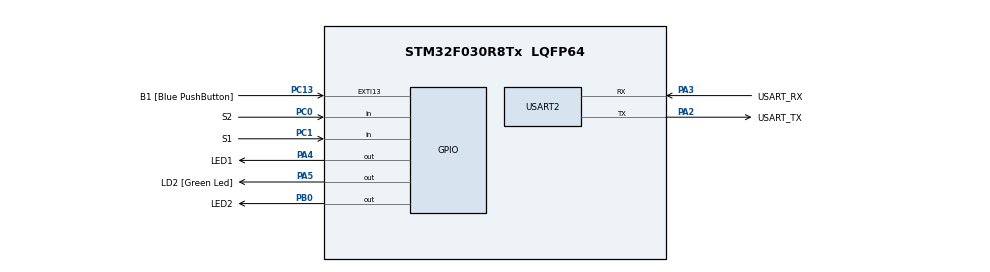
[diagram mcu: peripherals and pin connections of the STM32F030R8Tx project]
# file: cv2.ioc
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Mcu.Family=STM32F0
Mcu.Name=STM32F030R8Tx
Mcu.Package=LQFP64
PA13.GPIO_Label=TMS
PA13.Mode=Serial_Wire
PA13.Signal=SYS_SWDIO
PA14.GPIO_Label=TCK
PA14.Mode=Serial_Wire
PA14.Signal=SYS_SWCLK
PA2.GPIO_Label=USART_TX
PA2.GPIO_Mode=GPIO_MODE_AF_PP
PA2.GPIO_PuPd=GPIO_NOPULL
PA2.GPIO_Speed=GPIO_SPEED_FREQ_LOW
PA2.Mode=Asynchronous
PA2.Signal=USART2_TX
PA3.GPIO_Label=USART_RX
PA3.GPIO_Mode=GPIO_MODE_AF_PP
PA3.GPIO_PuPd=GPIO_NOPULL
PA3.GPIO_Speed=GPIO_SPEED_FREQ_LOW
PA3.Mode=Asynchronous
PA3.Signal=USART2_RX
PA4.GPIO_Label=LED1
PA4.Signal=GPIO_Output
PA5.GPIO_Label=LD2 [Green Led]
PA5.GPIO_Mode=GPIO_MODE_OUTPUT_PP
PA5.GPIO_PuPd=GPIO_NOPULL
PA5.GPIO_Speed=GPIO_SPEED_FREQ_LOW
PA5.Signal=GPIO_Output
PB0.GPIO_Label=LED2
PB0.Signal=GPIO_Output
PC0.GPIO_Label=S2
PC0.GPIO_PuPd=GPIO_PULLUP
PC0.Signal=GPIO_Input
PC1.GPIO_Label=S1
PC1.GPIO_PuPd=GPIO_PULLUP
PC1.Signal=GPIO_Input
PC13.GPIO_Label=B1 [Blue PushButton]
PC13.GPIO_ModeDefaultEXTI=GPIO_MODE_IT_FALLING
PC13.Signal=GPXTI13
PC14-OSC32_IN.Mode=LSE-External-Oscillator
PC14-OSC32_IN.Signal=RCC_OSC32_IN
PC15-OSC32_OUT.Mode=LSE-External-Oscillator
PC15-OSC32_OUT.Signal=RCC_OSC32_OUT
PF0-OSC_IN.Mode=HSE-External-Clock-Source
PF0-OSC_IN.Signal=RCC_OSC_IN
PF1-OSC_OUT.Signal=RCC_OSC_OUT
ProjectManager.HeapSize=0x200
ProjectManager.StackSize=0x400
ProjectManager.TargetToolchain=STM32CubeIDE
RCC.AHBFreq_Value=48000000
RCC.APB1Freq_Value=48000000
RCC.APB1TimFreq_Value=48000000
RCC.HCLKFreq_Value=48000000
RCC.PLLMUL=RCC_PLL_MUL12
RCC.SYSCLKFreq_VALUE=48000000
RCC.SYSCLKSource=RCC_SYSCLKSOURCE_PLLCLK
USART2.VirtualMode-Asynchronous=VM_ASYNC
board=NUCLEO-F030R8

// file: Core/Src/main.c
/* USER CODE BEGIN Header */
/**
  ******************************************************************************
  * @file           : main.c
  * @brief          : Main program body
  ******************************************************************************
  * @attention
  *
  * Copyright (c) 2023 STMicroelectronics.
  * All rights reserved.
  *
  * This software is licensed under terms that can be found in the LICENSE file
  * in the root directory of this software component.
  * If no LICENSE file comes with this software, it is provided AS-IS.
  *
  ******************************************************************************
  */
/* USER CODE END Header */
#include "main.h"

/* USER CODE BEGIN PD */
#define LED_TIME_BLINK 300
#define LED_TIME_SHORT 100
#define LED_TIME_LONG 1000
#define BUTTON_CHECK 40
#define DEL 5
/* USER CODE END PD */

void SystemClock_Config(void);
static void MX_GPIO_Init(void);
static void MX_USART2_UART_Init(void);

/* USER CODE BEGIN 0 */
volatile uint32_t Tick;
void blikac(void) {
	static uint32_t delay;
	if (Tick > delay + LED_TIME_BLINK) {
		LL_GPIO_TogglePin(LED1_GPIO_Port, LED1_Pin);
		delay = Tick;
	}
}
void tlacitko(void) {
//	static uint32_t delay;
	static uint32_t delay5;
	static uint32_t debounce = 0xFFFF;
//	static uint32_t old_s2;
//	static uint32_t old_s1;
	static uint32_t off_time;

	if (Tick > delay5 + DEL) {
		debounce <<= 1;
		if (LL_GPIO_IsInputPinSet(S1_GPIO_Port, S1_Pin)) {
			debounce |= 1;
		}
		if (debounce == 0x7FFF) {
			LL_GPIO_SetOutputPin(LED2_GPIO_Port, LED2_Pin);
			off_time = Tick + LED_TIME_LONG;
		}
		delay5 = Tick;
	}

//	if (Tick > delay + BUTTON_CHECK) {
//		uint32_t new_s2 = LL_GPIO_IsInputPinSet(S2_GPIO_Port, S2_Pin);
//		uint32_t new_s1 = LL_GPIO_IsInputPinSet(S1_GPIO_Port, S1_Pin);
//		if (old_s2 && !new_s2) { // falling edge
//			off_time = Tick + LED_TIME_SHORT;
//			LL_GPIO_SetOutputPin(LED2_GPIO_Port, LED2_Pin);
//		}
//		if (old_s1 && !new_s1) {
//			off_time = Tick + LED_TIME_LONG;
//			LL_GPIO_SetOutputPin(LED2_GPIO_Port, LED2_Pin);
//		}
//		old_s2 = new_s2;
//		old_s1 = new_s1;
//		delay = Tick;
//	}
	if (Tick > off_time) {
		LL_GPIO_ResetOutputPin(LED2_GPIO_Port, LED2_Pin);
	}
}
/* USER CODE END 0 */

int main(void)
{

  /* MCU Configuration--------------------------------------------------------*/

  /* Reset of all peripherals, Initializes the Flash interface and the Systick. */
  LL_APB1_GRP2_EnableClock(LL_APB1_GRP2_PERIPH_SYSCFG);
  LL_APB1_GRP1_EnableClock(LL_APB1_GRP1_PERIPH_PWR);

  /* Configure the system clock */
  SystemClock_Config();

  /* Initialize all configured peripherals */
  MX_GPIO_Init();
  MX_USART2_UART_Init();
  /* USER CODE BEGIN 2 */
  LL_SYSTICK_EnableIT();
  /* USER CODE END 2 */

  /* Infinite loop */
  while (1)
  {
	  	 blikac();
	  	 tlacitko();
  }
}

void SystemClock_Config(void)
{
  LL_FLASH_SetLatency(LL_FLASH_LATENCY_1);
  while(LL_FLASH_GetLatency() != LL_FLASH_LATENCY_1)
  {
  }
  LL_RCC_HSI_Enable();

   /* Wait till HSI is ready */
  while(LL_RCC_HSI_IsReady() != 1)
  {

  }
  LL_RCC_HSI_SetCalibTrimming(16);
  LL_RCC_PLL_ConfigDomain_SYS(LL_RCC_PLLSOURCE_HSI_DIV_2, LL_RCC_PLL_MUL_12);
  LL_RCC_PLL_Enable();

   /* Wait till PLL is ready */
  while(LL_RCC_PLL_IsReady() != 1)
  {

  }
  LL_RCC_SetAHBPrescaler(LL_RCC_SYSCLK_DIV_1);
  LL_RCC_SetAPB1Prescaler(LL_RCC_APB1_DIV_1);
  LL_RCC_SetSysClkSource(LL_RCC_SYS_CLKSOURCE_PLL);

   /* Wait till System clock is ready */
  while(LL_RCC_GetSysClkSource() != LL_RCC_SYS_CLKSOURCE_STATUS_PLL)
  {

  }
  LL_Init1msTick(48000000);
  LL_SetSystemCoreClock(48000000);
}

static void MX_USART2_UART_Init(void)
{

  LL_USART_InitTypeDef USART_InitStruct = {0};

  LL_GPIO_InitTypeDef GPIO_InitStruct = {0};

  /* Peripheral clock enable */
  LL_APB1_GRP1_EnableClock(LL_APB1_GRP1_PERIPH_USART2);

  LL_AHB1_GRP1_EnableClock(LL_AHB1_GRP1_PERIPH_GPIOA);
  /**USART2 GPIO Configuration
  PA2   ------> USART2_TX
  PA3   ------> USART2_RX
  */
  GPIO_InitStruct.Pin = USART_TX_Pin;
  GPIO_InitStruct.Mode = LL_GPIO_MODE_ALTERNATE;
  GPIO_InitStruct.Speed = LL_GPIO_SPEED_FREQ_LOW;
  GPIO_InitStruct.OutputType = LL_GPIO_OUTPUT_PUSHPULL;
  GPIO_InitStruct.Pull = LL_GPIO_PULL_NO;
  GPIO_InitStruct.Alternate = LL_GPIO_AF_1;
  LL_GPIO_Init(USART_TX_GPIO_Port, &GPIO_InitStruct);

  GPIO_InitStruct.Pin = USART_RX_Pin;
  GPIO_InitStruct.Mode = LL_GPIO_MODE_ALTERNATE;
  GPIO_InitStruct.Speed = LL_GPIO_SPEED_FREQ_LOW;
  GPIO_InitStruct.OutputType = LL_GPIO_OUTPUT_PUSHPULL;
  GPIO_InitStruct.Pull = LL_GPIO_PULL_NO;
  GPIO_InitStruct.Alternate = LL_GPIO_AF_1;
  LL_GPIO_Init(USART_RX_GPIO_Port, &GPIO_InitStruct);

  USART_InitStruct.BaudRate = 38400;
  USART_InitStruct.DataWidth = LL_USART_DATAWIDTH_8B;
  USART_InitStruct.StopBits = LL_USART_STOPBITS_1;
  USART_InitStruct.Parity = LL_USART_PARITY_NONE;
  USART_InitStruct.TransferDirection = LL_USART_DIRECTION_TX_RX;
  USART_InitStruct.HardwareFlowControl = LL_USART_HWCONTROL_NONE;
  USART_InitStruct.OverSampling = LL_USART_OVERSAMPLING_16;
  LL_USART_Init(USART2, &USART_InitStruct);
  LL_USART_DisableIT_CTS(USART2);
  LL_USART_ConfigAsyncMode(USART2);
  LL_USART_Enable(USART2);

}

static void MX_GPIO_Init(void)
{
  LL_EXTI_InitTypeDef EXTI_InitStruct = {0};
  LL_GPIO_InitTypeDef GPIO_InitStruct = {0};

  /* GPIO Ports Clock Enable */
  LL_AHB1_GRP1_EnableClock(LL_AHB1_GRP1_PERIPH_GPIOC);
  LL_AHB1_GRP1_EnableClock(LL_AHB1_GRP1_PERIPH_GPIOF);
  LL_AHB1_GRP1_EnableClock(LL_AHB1_GRP1_PERIPH_GPIOA);
  LL_AHB1_GRP1_EnableClock(LL_AHB1_GRP1_PERIPH_GPIOB);

  /**/
  LL_GPIO_ResetOutputPin(LED1_GPIO_Port, LED1_Pin);

  /**/
  LL_GPIO_ResetOutputPin(LD2_GPIO_Port, LD2_Pin);

  /**/
  LL_GPIO_ResetOutputPin(LED2_GPIO_Port, LED2_Pin);

  /**/
  LL_SYSCFG_SetEXTISource(LL_SYSCFG_EXTI_PORTC, LL_SYSCFG_EXTI_LINE13);

  /**/
  LL_GPIO_SetPinPull(B1_GPIO_Port, B1_Pin, LL_GPIO_PULL_NO);

  /**/
  LL_GPIO_SetPinMode(B1_GPIO_Port, B1_Pin, LL_GPIO_MODE_INPUT);

  /**/
  EXTI_InitStruct.Line_0_31 = LL_EXTI_LINE_13;
  EXTI_InitStruct.LineCommand = ENABLE;
  EXTI_InitStruct.Mode = LL_EXTI_MODE_IT;
  EXTI_InitStruct.Trigger = LL_EXTI_TRIGGER_FALLING;
  LL_EXTI_Init(&EXTI_InitStruct);

  /**/
  GPIO_InitStruct.Pin = S2_Pin;
  GPIO_InitStruct.Mode = LL_GPIO_MODE_INPUT;
  GPIO_InitStruct.Pull = LL_GPIO_PULL_UP;
  LL_GPIO_Init(S2_GPIO_Port, &GPIO_InitStruct);

  /**/
  GPIO_InitStruct.Pin = S1_Pin;
  GPIO_InitStruct.Mode = LL_GPIO_MODE_INPUT;
  GPIO_InitStruct.Pull = LL_GPIO_PULL_UP;
  LL_GPIO_Init(S1_GPIO_Port, &GPIO_InitStruct);

  /**/
  GPIO_InitStruct.Pin = LED1_Pin;
  GPIO_InitStruct.Mode = LL_GPIO_MODE_OUTPUT;
  GPIO_InitStruct.Speed = LL_GPIO_SPEED_FREQ_LOW;
  GPIO_InitStruct.OutputType = LL_GPIO_OUTPUT_PUSHPULL;
  GPIO_InitStruct.Pull = LL_GPIO_PULL_NO;
  LL_GPIO_Init(LED1_GPIO_Port, &GPIO_InitStruct);

  /**/
  GPIO_InitStruct.Pin = LD2_Pin;
  GPIO_InitStruct.Mode = LL_GPIO_MODE_OUTPUT;
  GPIO_InitStruct.Speed = LL_GPIO_SPEED_FREQ_LOW;
  GPIO_InitStruct.OutputType = LL_GPIO_OUTPUT_PUSHPULL;
  GPIO_InitStruct.Pull = LL_GPIO_PULL_NO;
  LL_GPIO_Init(LD2_GPIO_Port, &GPIO_InitStruct);

  /**/
  GPIO_InitStruct.Pin = LED2_Pin;
  GPIO_InitStruct.Mode = LL_GPIO_MODE_OUTPUT;
  GPIO_InitStruct.Speed = LL_GPIO_SPEED_FREQ_LOW;
  GPIO_InitStruct.OutputType = LL_GPIO_OUTPUT_PUSHPULL;
  GPIO_InitStruct.Pull = LL_GPIO_PULL_NO;
  LL_GPIO_Init(LED2_GPIO_Port, &GPIO_InitStruct);

}

void Error_Handler(void)
{
  __disable_irq();
  while (1)
  {
  }
}
